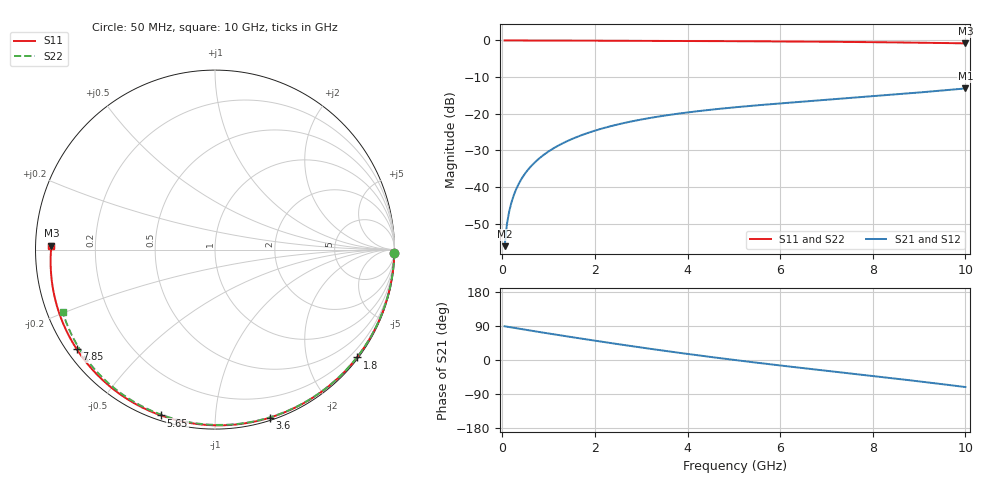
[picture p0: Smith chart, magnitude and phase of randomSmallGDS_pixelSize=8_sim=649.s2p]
! freq	dB(S11)	phase(S11)	dB(S12)	phase(S12)
!  dB(S21)	phase(S21)	dB(S22)	phase(S22)
!S-par simulation data
#  GHz  S  DB  R 50
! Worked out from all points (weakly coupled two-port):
!   200 points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, 50 MHz to 10 GHz, reference 50 ohm
!   highest |S21| = -13.10 dB at 10 GHz (marker M1); lowest = -56.1 dB at 50 MHz (marker M2)
!   lowest |S11| = -0.8 dB at 10 GHz (marker M3), VSWR 21.67, Z = 2.31 + j0.588 ohm
!   |S11| at or under -10 dB: nowhere
!   |S22| runs from -0.8 to 0.0 dB; largest |S21 - S12| = 0
!   S11 on the Smith chart (normalised r, x): 50 MHz: open; 1.8 GHz: 0.03, -2.97; 3.6 GHz: 0.02, -1.38; 5.65 GHz: 0.02, -0.73; 7.85 GHz: 0.03, -0.32; 10 GHz: 0.05, +0.01
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0.05  -0.01 -1.1  -56.11 89.0  -56.11 89.0  -0.01 -0.9
0.1  -0.01 -2.1  -50.09 88.0  -50.09 88.0  -0.01 -1.9
0.15  -0.01 -3.2  -46.57 86.9  -46.57 86.9  -0.01 -2.8
0.2  -0.01 -4.2  -44.07 85.9  -44.07 85.9  -0.01 -3.7
0.35  -0.01 -7.4  -39.23 82.9  -39.23 82.9  -0.01 -6.5
0.5  -0.01 -10.5  -36.16 79.8  -36.16 79.8  -0.01 -9.3
0.7  -0.02 -14.7  -33.28 75.8  -33.28 75.8  -0.02 -13.0
1  -0.03 -20.9  -30.26 70.0  -30.26 70.0  -0.03 -18.5
1.35  -0.04 -28.1  -27.77 63.2  -27.77 63.2  -0.04 -24.9
1.75  -0.06 -36.2  -25.66 55.7  -25.66 55.7  -0.05 -32.1
1.8  -0.06 -37.2  -25.43 54.7  -25.43 54.7  -0.05 -33.0
2.6  -0.09 -53.0  -22.60 40.0  -22.60 40.0  -0.08 -47.1
3.4  -0.12 -68.2  -20.70 26.0  -20.70 26.0  -0.12 -60.7
3.6  -0.13 -72.0  -20.32 22.6  -20.32 22.6  -0.12 -64.0
4.3  -0.17 -84.7  -19.18 11.2  -19.18 11.2  -0.16 -75.4
5.05  -0.21 -97.8  -18.21 -0.5  -18.21 -0.5  -0.19 -87.1
5.65  -0.25 -108.0  -17.54 -9.4  -17.54 -9.4  -0.23 -96.2
6.7  -0.33 -125.5  -16.49 -24.3  -16.49 -24.3  -0.31 -111.6
7.85  -0.45 -144.4  -15.38 -40.2  -15.38 -40.2  -0.42 -127.8
8.35  -0.52 -152.6  -14.88 -47.1  -14.88 -47.1  -0.48 -134.8
9.2  -0.65 -167.1  -13.98 -59.3  -13.98 -59.3  -0.61 -146.6
10  -0.80 178.6  -13.10 -71.4  -13.10 -71.4  -0.75 -157.9
